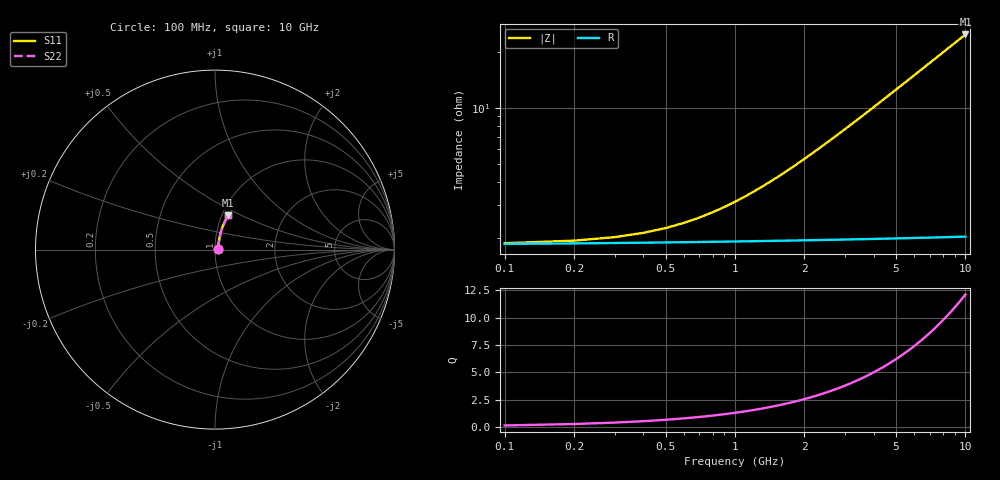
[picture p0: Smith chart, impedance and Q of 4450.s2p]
# Hz S RI R 50.00
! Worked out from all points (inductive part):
!   100 points, 100 MHz to 10 GHz, reference 50 ohm
!   read as one part in series: L = 394 pH near 2.4 GHz
!   highest Q = 12.1 at 10 GHz (marker M1), where L = 393 pH
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1e8  0.0182 0.00204  0.9818 -0.00273  0.9818 -0.00273  0.0182 0.00204
2e8  0.0184 0.00408  0.9816 -0.00546  0.9816 -0.00546  0.0184 0.00408
3e8  0.0185 0.00612  0.9815 -0.00818  0.9815 -0.00818  0.0185 0.00612
4e8  0.0186 0.00815  0.9814 -0.0109  0.9814 -0.0109  0.0186 0.00815
5e8  0.0187 0.0102  0.9813 -0.0136  0.9813 -0.0136  0.0187 0.0102
1.3e9  0.0198 0.0264  0.9801 -0.0354  0.9801 -0.0354  0.0198 0.0264
1.5e9  0.0202 0.0305  0.9797 -0.0408  0.9797 -0.0408  0.0202 0.0305
1.8e9  0.0208 0.0366  0.9791 -0.049  0.9791 -0.049  0.0208 0.0366
2.1e9  0.0216 0.0426  0.9783 -0.0571  0.9783 -0.0571  0.0216 0.0426
2.5e9  0.0227 0.0507  0.9771 -0.0679  0.9771 -0.0679  0.0227 0.0507
2.9e9  0.024 0.0587  0.9758 -0.0787  0.9758 -0.0787  0.024 0.0587
3.4e9  0.0258 0.0687  0.9739 -0.0921  0.9739 -0.0921  0.0258 0.0687
3.8e9  0.0275 0.0766  0.9721 -0.1028  0.9721 -0.1028  0.0275 0.0766
4.2e9  0.0293 0.0845  0.9702 -0.1135  0.9702 -0.1135  0.0293 0.0845
4.6e9  0.0313 0.0923  0.9681 -0.1241  0.9681 -0.1241  0.0313 0.0923
5.1e9  0.0341 0.102  0.9653 -0.1372  0.9653 -0.1372  0.0341 0.102
5.9e9  0.039 0.1173  0.9601 -0.1581  0.9601 -0.1581  0.039 0.1173
6.7e9  0.0446 0.1324  0.9543 -0.1787  0.9543 -0.1787  0.0446 0.1324
7.5e9  0.0508 0.1471  0.9478 -0.199  0.9478 -0.199  0.0508 0.1471
8.4e9  0.0585 0.1632  0.9398 -0.2214  0.9398 -0.2214  0.0585 0.1632
9.2e9  0.0659 0.1772  0.9319 -0.2409  0.9319 -0.2409  0.0659 0.1772
1e10  0.074 0.1908  0.9236 -0.26  0.9236 -0.26  0.074 0.1908
